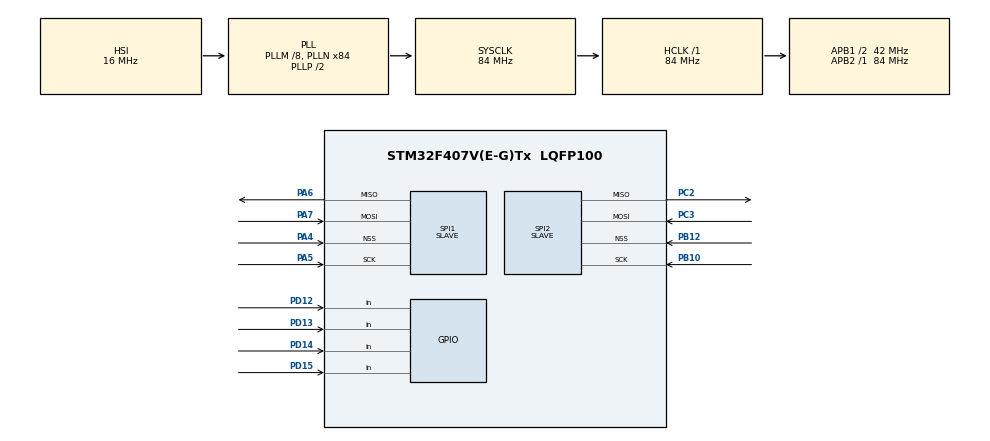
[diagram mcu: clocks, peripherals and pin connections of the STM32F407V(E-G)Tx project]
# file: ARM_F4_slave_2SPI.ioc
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Dma.Request0=SPI1_RX
Dma.Request1=SPI2_RX
Dma.SPI1_RX.0.Direction=DMA_PERIPH_TO_MEMORY
Dma.SPI1_RX.0.FIFOMode=DMA_FIFOMODE_DISABLE
Dma.SPI1_RX.0.Instance=DMA2_Stream0
Dma.SPI1_RX.0.MemDataAlignment=DMA_MDATAALIGN_BYTE
Dma.SPI1_RX.0.MemInc=DMA_MINC_ENABLE
Dma.SPI1_RX.0.Mode=DMA_CIRCULAR
Dma.SPI1_RX.0.PeriphDataAlignment=DMA_PDATAALIGN_BYTE
Dma.SPI1_RX.0.PeriphInc=DMA_PINC_DISABLE
Dma.SPI1_RX.0.Priority=DMA_PRIORITY_LOW
Dma.SPI2_RX.1.Direction=DMA_PERIPH_TO_MEMORY
Dma.SPI2_RX.1.FIFOMode=DMA_FIFOMODE_DISABLE
Dma.SPI2_RX.1.Instance=DMA1_Stream3
Dma.SPI2_RX.1.MemDataAlignment=DMA_MDATAALIGN_BYTE
Dma.SPI2_RX.1.MemInc=DMA_MINC_ENABLE
Dma.SPI2_RX.1.Mode=DMA_CIRCULAR
Dma.SPI2_RX.1.PeriphDataAlignment=DMA_PDATAALIGN_BYTE
Dma.SPI2_RX.1.PeriphInc=DMA_PINC_DISABLE
Dma.SPI2_RX.1.Priority=DMA_PRIORITY_LOW
Mcu.Family=STM32F4
Mcu.Name=STM32F407V(E-G)Tx
Mcu.Package=LQFP100
NVIC.DMA1_Stream3_IRQn=true\:0\:0\:false\:false\:true\:false
NVIC.DMA2_Stream0_IRQn=true\:0\:0\:false\:false\:true\:false
NVIC.PriorityGroup=NVIC_PRIORITYGROUP_4
NVIC.SPI1_IRQn=true\:0\:0\:false\:false\:true\:true
NVIC.SPI2_IRQn=true\:0\:0\:false\:false\:true\:true
NVIC.TIM2_IRQn=true\:0\:0\:false\:false\:true\:true
PA13.Mode=Serial_Wire
PA13.Signal=SYS_JTMS-SWDIO
PA14.Mode=Serial_Wire
PA14.Signal=SYS_JTCK-SWCLK
PA4.Mode=NSS_Signal_Hard_Input
PA4.Signal=SPI1_NSS
PA5.Mode=Full_Duplex_Slave
PA5.Signal=SPI1_SCK
PA6.Mode=Full_Duplex_Slave
PA6.Signal=SPI1_MISO
PA7.Mode=Full_Duplex_Slave
PA7.Signal=SPI1_MOSI
PB10.Mode=Full_Duplex_Slave
PB10.Signal=SPI2_SCK
PB12.Mode=NSS_Signal_Hard_Input
PB12.Signal=SPI2_NSS
PC2.Mode=Full_Duplex_Slave
PC2.Signal=SPI2_MISO
PC3.Mode=Full_Duplex_Slave
PC3.Signal=SPI2_MOSI
PD12.Signal=GPIO_Input
PD13.Signal=GPIO_Input
PD14.Signal=GPIO_Input
PD15.Signal=GPIO_Input
ProjectManager.HeapSize=0x200
ProjectManager.StackSize=0x400
ProjectManager.TargetToolchain=MDK-ARM V5
RCC.48MHZClocksFreq_Value=42000000
RCC.AHBFreq_Value=84000000
RCC.APB1CLKDivider=RCC_HCLK_DIV2
RCC.APB1Freq_Value=42000000
RCC.APB1TimFreq_Value=84000000
RCC.APB2Freq_Value=84000000
RCC.APB2TimFreq_Value=84000000
RCC.CortexFreq_Value=84000000
RCC.HCLKFreq_Value=84000000
RCC.HSE_VALUE=25000000
RCC.HSI_VALUE=16000000
RCC.LSE_VALUE=32768
RCC.PLLM=8
RCC.PLLN=84
RCC.SYSCLKFreq_VALUE=84000000
RCC.SYSCLKSource=RCC_SYSCLKSOURCE_PLLCLK
RCC.VCOOutputFreq_Value=168000000
SPI1.Direction=SPI_DIRECTION_2LINES
SPI1.Mode=SPI_MODE_SLAVE
SPI1.VirtualNSS=VM_NSSHARD
SPI1.VirtualType=VM_SLAVE
SPI2.Direction=SPI_DIRECTION_2LINES
SPI2.Mode=SPI_MODE_SLAVE
SPI2.VirtualNSS=VM_NSSHARD
SPI2.VirtualType=VM_SLAVE
TIM2.Period=999
TIM2.Prescaler=8399
VP_TIM2_VS_ClockSourceINT.Mode=Internal
board=custom

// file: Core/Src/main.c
/* USER CODE BEGIN Header */
/**
  ******************************************************************************
  * @file           : main.c
  * @brief          : Main program body
  ******************************************************************************
  ** This notice applies to any and all portions of this file
  * that are not between comment pairs USER CODE BEGIN and
  * USER CODE END. Other portions of this file, whether
  * inserted by the user or by software development tools
  * are owned by their respective copyright owners.
  *
  * COPYRIGHT(c) 2019 STMicroelectronics
  *
  * Redistribution and use in source and binary forms, with or without modification,
  * are permitted provided that the following conditions are met:
  *   1. Redistributions of source code must retain the above copyright notice,
  *      this list of conditions and the following disclaimer.
  *   2. Redistributions in binary form must reproduce the above copyright notice,
  *      this list of conditions and the following disclaimer in the documentation
  *      and/or other materials provided with the distribution.
  *   3. Neither the name of STMicroelectronics nor the names of its contributors
  *      may be used to endorse or promote products derived from this software
  *      without specific prior written permission.
  *
  * THIS SOFTWARE IS PROVIDED BY THE COPYRIGHT HOLDERS AND CONTRIBUTORS "AS IS"
  * AND ANY EXPRESS OR IMPLIED WARRANTIES, INCLUDING, BUT NOT LIMITED TO, THE
  * IMPLIED WARRANTIES OF MERCHANTABILITY AND FITNESS FOR A PARTICULAR PURPOSE ARE
  * DISCLAIMED. IN NO EVENT SHALL THE COPYRIGHT HOLDER OR CONTRIBUTORS BE LIABLE
  * FOR ANY DIRECT, INDIRECT, INCIDENTAL, SPECIAL, EXEMPLARY, OR CONSEQUENTIAL
  * DAMAGES (INCLUDING, BUT NOT LIMITED TO, PROCUREMENT OF SUBSTITUTE GOODS OR
  * SERVICES; LOSS OF USE, DATA, OR PROFITS; OR BUSINESS INTERRUPTION) HOWEVER
  * CAUSED AND ON ANY THEORY OF LIABILITY, WHETHER IN CONTRACT, STRICT LIABILITY,
  * OR TORT (INCLUDING NEGLIGENCE OR OTHERWISE) ARISING IN ANY WAY OUT OF THE USE
  * OF THIS SOFTWARE, EVEN IF ADVISED OF THE POSSIBILITY OF SUCH DAMAGE.
  *
  ******************************************************************************
  */
/* USER CODE END Header */

#include "main.h"

SPI_HandleTypeDef hspi1;
SPI_HandleTypeDef hspi2;
DMA_HandleTypeDef hdma_spi1_rx;
DMA_HandleTypeDef hdma_spi2_rx;

TIM_HandleTypeDef htim2;

/* USER CODE BEGIN PV */
uint8_t receive_data_1[8];
uint8_t send_data[8];
uint8_t tim2Indicator = 0;
float firstFloat = 1.27f, secondFloat = 0.73f;
/* USER CODE END PV */

void SystemClock_Config(void);
static void MX_GPIO_Init(void);
static void MX_DMA_Init(void);
static void MX_SPI1_Init(void);
static void MX_SPI2_Init(void);
static void MX_TIM2_Init(void);
/* USER CODE BEGIN PFP */

//Ham truyen SPI
void Send_2Float(){
	unsigned char *chptr;

	chptr=(unsigned char *)&firstFloat;
	send_data[0]=(*chptr++); 	//LSB
	send_data[1]=(*chptr++);
	send_data[2]=(*chptr++);
	send_data[3]=(*chptr);		//MSB

	chptr=(unsigned char *)&secondFloat;
	send_data[4]=(*chptr++);	//LSB
	send_data[5]=(*chptr++);
	send_data[6]=(*chptr++);
	send_data[7]=(*chptr);		//MSB

	HAL_SPI_Transmit_IT(&hspi1,&send_data[0],8);
}
/* USER CODE END PFP */

int main(void)
{

  /* MCU Configuration--------------------------------------------------------*/

  /* Reset of all peripherals, Initializes the Flash interface and the Systick. */
  HAL_Init();

  /* Configure the system clock */
  SystemClock_Config();

  /* Initialize all configured peripherals */
  MX_GPIO_Init();
  MX_DMA_Init();
  MX_SPI1_Init();
  MX_SPI2_Init();
  MX_TIM2_Init();
  /* USER CODE BEGIN 2 */

	HAL_TIM_Base_Start_IT(&htim2);
	HAL_SPI_Receive_DMA(&hspi1,&receive_data_1[0],8);

  /* USER CODE END 2 */

  /* Infinite loop */
  while (1)
  {

  }
}

void SystemClock_Config(void)
{
  RCC_OscInitTypeDef RCC_OscInitStruct = {0};
  RCC_ClkInitTypeDef RCC_ClkInitStruct = {0};

  /**Configure the main internal regulator output voltage
  */
  __HAL_RCC_PWR_CLK_ENABLE();
  __HAL_PWR_VOLTAGESCALING_CONFIG(PWR_REGULATOR_VOLTAGE_SCALE1);
  /**Initializes the CPU, AHB and APB busses clocks
  */
  RCC_OscInitStruct.OscillatorType = RCC_OSCILLATORTYPE_HSI;
  RCC_OscInitStruct.HSIState = RCC_HSI_ON;
  RCC_OscInitStruct.HSICalibrationValue = RCC_HSICALIBRATION_DEFAULT;
  RCC_OscInitStruct.PLL.PLLState = RCC_PLL_ON;
  RCC_OscInitStruct.PLL.PLLSource = RCC_PLLSOURCE_HSI;
  RCC_OscInitStruct.PLL.PLLM = 8;
  RCC_OscInitStruct.PLL.PLLN = 84;
  RCC_OscInitStruct.PLL.PLLP = RCC_PLLP_DIV2;
  RCC_OscInitStruct.PLL.PLLQ = 4;
  if (HAL_RCC_OscConfig(&RCC_OscInitStruct) != HAL_OK)
  {
    Error_Handler();
  }
  /**Initializes the CPU, AHB and APB busses clocks
  */
  RCC_ClkInitStruct.ClockType = RCC_CLOCKTYPE_HCLK|RCC_CLOCKTYPE_SYSCLK
                              |RCC_CLOCKTYPE_PCLK1|RCC_CLOCKTYPE_PCLK2;
  RCC_ClkInitStruct.SYSCLKSource = RCC_SYSCLKSOURCE_PLLCLK;
  RCC_ClkInitStruct.AHBCLKDivider = RCC_SYSCLK_DIV1;
  RCC_ClkInitStruct.APB1CLKDivider = RCC_HCLK_DIV2;
  RCC_ClkInitStruct.APB2CLKDivider = RCC_HCLK_DIV1;

  if (HAL_RCC_ClockConfig(&RCC_ClkInitStruct, FLASH_LATENCY_2) != HAL_OK)
  {
    Error_Handler();
  }
}

static void MX_SPI1_Init(void)
{

  /* SPI1 parameter configuration*/
  hspi1.Instance = SPI1;
  hspi1.Init.Mode = SPI_MODE_SLAVE;
  hspi1.Init.Direction = SPI_DIRECTION_2LINES;
  hspi1.Init.DataSize = SPI_DATASIZE_8BIT;
  hspi1.Init.CLKPolarity = SPI_POLARITY_LOW;
  hspi1.Init.CLKPhase = SPI_PHASE_1EDGE;
  hspi1.Init.NSS = SPI_NSS_HARD_INPUT;
  hspi1.Init.FirstBit = SPI_FIRSTBIT_MSB;
  hspi1.Init.TIMode = SPI_TIMODE_DISABLE;
  hspi1.Init.CRCCalculation = SPI_CRCCALCULATION_DISABLE;
  hspi1.Init.CRCPolynomial = 10;
  if (HAL_SPI_Init(&hspi1) != HAL_OK)
  {
    Error_Handler();
  }

}

static void MX_SPI2_Init(void)
{

  /* SPI2 parameter configuration*/
  hspi2.Instance = SPI2;
  hspi2.Init.Mode = SPI_MODE_SLAVE;
  hspi2.Init.Direction = SPI_DIRECTION_2LINES;
  hspi2.Init.DataSize = SPI_DATASIZE_8BIT;
  hspi2.Init.CLKPolarity = SPI_POLARITY_LOW;
  hspi2.Init.CLKPhase = SPI_PHASE_1EDGE;
  hspi2.Init.NSS = SPI_NSS_HARD_INPUT;
  hspi2.Init.FirstBit = SPI_FIRSTBIT_MSB;
  hspi2.Init.TIMode = SPI_TIMODE_DISABLE;
  hspi2.Init.CRCCalculation = SPI_CRCCALCULATION_DISABLE;
  hspi2.Init.CRCPolynomial = 10;
  if (HAL_SPI_Init(&hspi2) != HAL_OK)
  {
    Error_Handler();
  }

}

static void MX_TIM2_Init(void)
{

  TIM_ClockConfigTypeDef sClockSourceConfig = {0};
  TIM_MasterConfigTypeDef sMasterConfig = {0};

  htim2.Instance = TIM2;
  htim2.Init.Prescaler = 8399;
  htim2.Init.CounterMode = TIM_COUNTERMODE_UP;
  htim2.Init.Period = 999;
  htim2.Init.ClockDivision = TIM_CLOCKDIVISION_DIV1;
  if (HAL_TIM_Base_Init(&htim2) != HAL_OK)
  {
    Error_Handler();
  }
  sClockSourceConfig.ClockSource = TIM_CLOCKSOURCE_INTERNAL;
  if (HAL_TIM_ConfigClockSource(&htim2, &sClockSourceConfig) != HAL_OK)
  {
    Error_Handler();
  }
  sMasterConfig.MasterOutputTrigger = TIM_TRGO_RESET;
  sMasterConfig.MasterSlaveMode = TIM_MASTERSLAVEMODE_DISABLE;
  if (HAL_TIMEx_MasterConfigSynchronization(&htim2, &sMasterConfig) != HAL_OK)
  {
    Error_Handler();
  }

}

static void MX_DMA_Init(void)
{
  /* DMA controller clock enable */
  __HAL_RCC_DMA2_CLK_ENABLE();
  __HAL_RCC_DMA1_CLK_ENABLE();

  /* DMA interrupt init */
  /* DMA1_Stream3_IRQn interrupt configuration */
  HAL_NVIC_SetPriority(DMA1_Stream3_IRQn, 0, 0);
  HAL_NVIC_EnableIRQ(DMA1_Stream3_IRQn);
  /* DMA2_Stream0_IRQn interrupt configuration */
  HAL_NVIC_SetPriority(DMA2_Stream0_IRQn, 0, 0);
  HAL_NVIC_EnableIRQ(DMA2_Stream0_IRQn);

}

static void MX_GPIO_Init(void)
{
  GPIO_InitTypeDef GPIO_InitStruct = {0};

  /* GPIO Ports Clock Enable */
  __HAL_RCC_GPIOC_CLK_ENABLE();
  __HAL_RCC_GPIOA_CLK_ENABLE();
  __HAL_RCC_GPIOB_CLK_ENABLE();
  __HAL_RCC_GPIOD_CLK_ENABLE();

  /*Configure GPIO pins : PD12 PD13 PD14 PD15 */
  GPIO_InitStruct.Pin = GPIO_PIN_12|GPIO_PIN_13|GPIO_PIN_14|GPIO_PIN_15;
  GPIO_InitStruct.Mode = GPIO_MODE_INPUT;
  GPIO_InitStruct.Pull = GPIO_NOPULL;
  HAL_GPIO_Init(GPIOD, &GPIO_InitStruct);

}

/* USER CODE BEGIN 4 */
void HAL_TIM_PeriodElapseCallback(TIM_HandleTypeDef *htim){
}
/* USER CODE END 4 */

void Error_Handler(void)
{
}

/************************ (C) COPYRIGHT STMicroelectronics *****END OF FILE****/
